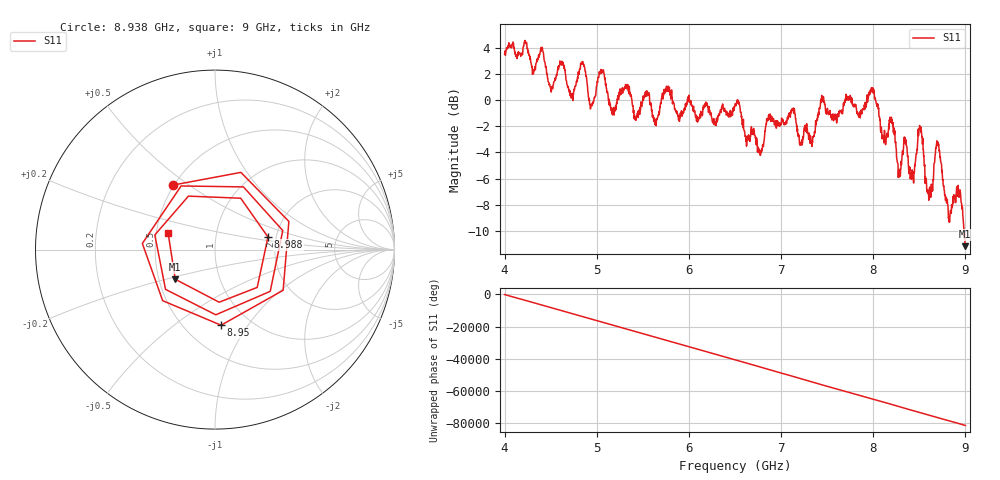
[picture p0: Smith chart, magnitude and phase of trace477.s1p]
! Created with skrf 1.8.0 (http://scikit-rf.org).
# Hz S RI R 50.0
!freq ReS11 ImS11
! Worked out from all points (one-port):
!   1601 points, 4 GHz to 9 GHz, reference 50 ohm
!   lowest |S11| = -11.2 dB at 8.997 GHz (marker M1), VSWR 1.76, Z = 30.4 - j10.9 ohm
!   |S11| at or under -10 dB: 8.984911 GHz to end of sweep
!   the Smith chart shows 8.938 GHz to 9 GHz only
!   S11 on the Smith chart (normalised r, x): 8.938 GHz: 0.49, +0.44; 8.95 GHz: 0.74, -0.76; 8.988 GHz: 1.81, +0.28; 9 GHz: 0.58, +0.12
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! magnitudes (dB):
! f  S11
! 4 GHz  3.5
! 4.625 GHz  3.0
! 4.722 GHz  0.2
! 4.844 GHz  2.8
! 4.941 GHz  -0.3
! 5.05 GHz  2.1
! 5.169 GHz  -0.9
! 5.25 GHz  0.7
! 5.875 GHz  -1.0
! 6.5 GHz  -0.3
! 6.769 GHz  -3.9
! 7.125 GHz  -0.6
! 7.334 GHz  -3.5
! 7.444 GHz  0.0
! 7.75 GHz  0.4
! 7.988 GHz  1.0
! 8.278 GHz  -5.4
! 8.375 GHz  -4.3
! 8.425 GHz  -6.0
! 8.512 GHz  -2.0
! 8.603 GHz  -7.7
! 8.697 GHz  -3.2
! 8.822 GHz  -9.3
! 8.938 GHz  -7.4
! 8.95 GHz  -7.5
! 8.988 GHz  -10.4
! 8.997 GHz  -11.2
! 9 GHz  -11.1
